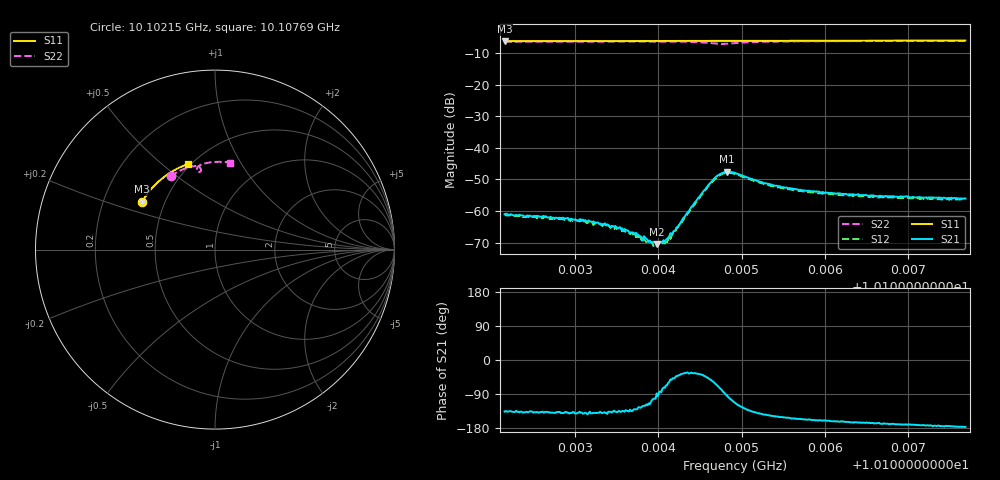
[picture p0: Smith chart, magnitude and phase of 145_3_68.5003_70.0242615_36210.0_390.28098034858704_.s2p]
#  HZ  S  RI  R  50.00
! Rohde & Schwarz Vector Network Analyzer
! Rohde-Schwarz,ZNB20-2Port,1311601062101988,3.16
! Created: UTC 3/20/2024, 4:55:03 PM
! freq[Hz]  re:S11  im:S11  re:S21  im:S21  re:S12  im:S12  re:S22  im:S22
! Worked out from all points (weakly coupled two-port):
!   401 points, 10.10215 GHz to 10.10769 GHz, reference 50 ohm
!   highest |S21| = -47.50 dB at 10.10483 GHz (marker M1); lowest = -70.4 dB at 10.10398 GHz (marker M2)
!   lowest |S11| = -6.3 dB at 10.10215 GHz (marker M3), VSWR 2.89, Z = 18.7 + j13 ohm
!   |S11| at or under -10 dB: nowhere
!   |S22| runs from -7.1 to -6.2 dB; largest |S21 - S12| = 0.00042
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1.0102154e10  -0.4061 0.2665  -0.000644 -0.000623  -0.000539 -0.000656  -0.2466 0.4099
1.0102818e10  -0.3841 0.3006  -0.000573 -0.000534  -0.000535 -0.000536  -0.2089 0.4321
1.0103081e10  -0.3746 0.3134  -0.000523 -0.00046  -0.000455 -0.000472  -0.1932 0.4401
1.010351e10  -0.3584 0.3337  -0.0004 -0.000364  -0.00037 -0.000388  -0.1664 0.4518
1.0103635e10  -0.3534 0.3397  -0.000348 -0.000349  -0.000283 -0.000363  -0.1582 0.4548
1.010369e10  -0.3512 0.3421  -0.000322 -0.00033  -0.000269 -0.000343  -0.1546 0.4561
1.0103925e10  -0.3414 0.3526  -8.64e-05 -0.000309  -6.99e-05 -0.000306  -0.1381 0.4611
1.0103981e10  -0.3393 0.3551  8.68e-06 -0.000301  1.02e-06 -0.000279  -0.134 0.4621
1.0104008e10  -0.3381 0.3562  2.6e-05 -0.000309  2.11e-05 -0.0003  -0.132 0.4625
1.0104091e10  -0.3346 0.36  0.000133 -0.000324  0.00015 -0.000309  -0.1255 0.4638
1.0104133e10  -0.3327 0.3617  0.000214 -0.00034  0.000252 -0.000317  -0.1221 0.4643
1.010423e10  -0.3284 0.3659  0.000419 -0.000376  0.000428 -0.000338  -0.1139 0.4652
1.0104451e10  -0.3188 0.375  0.00116 -0.00083  0.00118 -0.000673  -0.0928 0.4624
1.0104576e10  -0.313 0.3801  0.00165 -0.00164  0.00173 -0.00142  -0.0815 0.4541
1.0104673e10  -0.3088 0.3839  0.00165 -0.00285  0.00181 -0.00255  -0.0781 0.4423
1.0104742e10  -0.3056 0.3867  0.001 -0.0037  0.00129 -0.00347  -0.0827 0.4344
1.0104825e10  -0.3019 0.3898  -0.000306 -0.0042  5.71e-05 -0.00401  -0.0934 0.4331
1.0104922e10  -0.2974 0.3937  -0.00157 -0.00372  -0.00121 -0.00369  -0.1008 0.4426
1.0105379e10  -0.2758 0.4108  -0.00216 -0.00137  -0.00195 -0.00148  -0.0739 0.475
1.0105849e10  -0.2523 0.427  -0.00192 -0.000752  -0.00175 -0.00092  -0.0398 0.484
1.0106776e10  -0.2034 0.4545  -0.00169 -0.000306  -0.00157 -0.000443  0.0227 0.489
1.010769e10  -0.1524 0.4761  -0.00158 -9.94e-05  -0.00148 -0.000227  0.0819 0.4851
